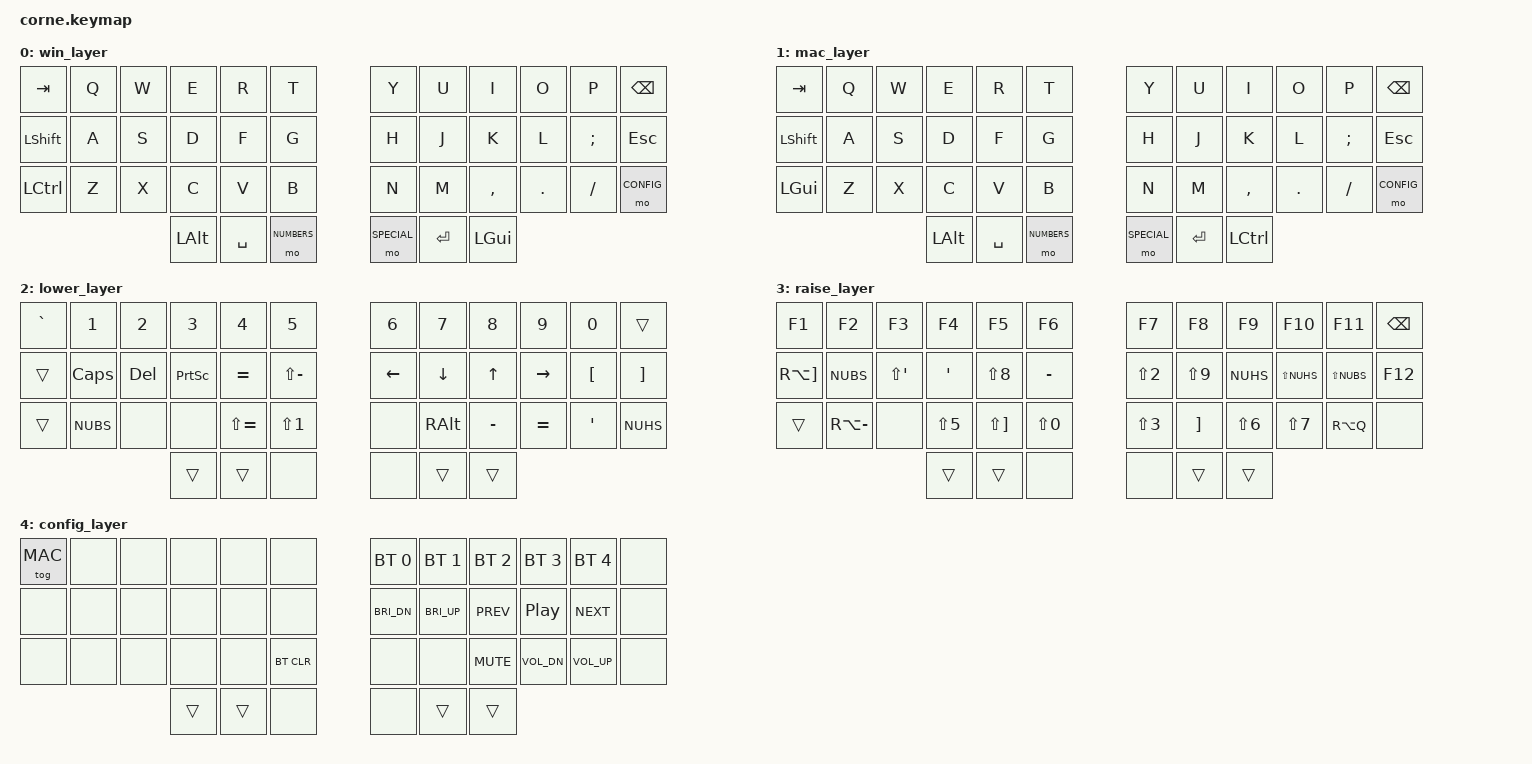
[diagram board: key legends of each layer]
/*
 * Copyright (c) 2020 The ZMK Contributors
 *
 * SPDX-License-Identifier: MIT
 */

#include <behaviors.dtsi>
#include <dt-bindings/zmk/keys.h>
#include <dt-bindings/zmk/bt.h>

#define WINDOWS 0
#define MAC 1
#define NUMBERS 2
#define SPECIAL 3
#define CONFIG 4

/ {
        keymap {
                compatible = "zmk,keymap";
                win_layer {
// -----------------------------------------------------------------------------------------
// |  TAB |  Q  |  W  |  E  |  R  |  T  |   |  Y  |  U   |  I  |  O  |  P  | BSPC |
// | SHFT |  A  |  S  |  D  |  F  |  G  |   |  H  |  J   |  K  |  L  |  Ñ  | ESC  |
// | CTRL |  Z  |  X  |  C  |  V  |  B  |   |  N  |  M   |  ,  |  .  |  -  | MO5  |
//                | ALT | SPC | NUMBERS |   | SPECIAL | ENT  | GUI |
                        bindings = <
   &kp TAB   &kp Q &kp W &kp E &kp R &kp T   &kp Y &kp U  &kp I     &kp O   &kp P     &kp BSPC
   &kp LSHFT &kp A &kp S &kp D &kp F &kp G   &kp H &kp J  &kp K     &kp L   &kp SEMI  &kp ESC
   &kp LCTRL &kp Z &kp X &kp C &kp V &kp B   &kp N &kp M  &kp COMMA &kp DOT &kp SLASH &mo CONFIG
            &kp LALT &kp SPACE &mo NUMBERS   &mo SPECIAL  &kp RET &kp LGUI
                        >;
                };

                mac_layer {
// -----------------------------------------------------------------------------------------
// |  TAB |  Q  |  W  |  E  |  R  |  T  |   |  Y  |  U   |  I  |  O  |  P  | BSPC |
// | SHFT |  A  |  S  |  D  |  F  |  G  |   |  H  |  J   |  K  |  L  |  Ñ  | ESC  |
// | GUI  |  Z  |  X  |  C  |  V  |  B  |   |  N  |  M   |  ,  |  .  |  -  | MO5  |
//                | ALT | SPC | NUMBERS |   | SPECIAL | ENT  | CTRL |
                        bindings = <
   &kp TAB   &kp Q &kp W &kp E &kp R &kp T   &kp Y &kp U  &kp I     &kp O   &kp P     &kp BSPC
   &kp LSHFT &kp A &kp S &kp D &kp F &kp G   &kp H &kp J  &kp K     &kp L   &kp SEMI  &kp ESC
   &kp LGUI  &kp Z &kp X &kp C &kp V &kp B   &kp N &kp M  &kp COMMA &kp DOT &kp SLASH  &mo CONFIG
           &kp LALT &kp SPACE &mo NUMBERS    &mo SPECIAL  &kp RET &kp LCTRL
                        >;
                };

                lower_layer {
// -----------------------------------------------------------------------------------------
// |  |   |  1 |  2   |  3  |  4  |  5  |   |  6  |  7   |  8  |  9  |  0  | BSPC |
// | SHFT | BM | SUPR | PS  |  ¿  |  ?  |   | LFT | DWN  |  UP | RGT |  ´  |   +  |
// | CTRL |  < |      |     |  ¡  |  !  |   |     | RALT |  ?  |  ¡  |  {  |   }  |
//                | ALT | SPC | NUMBERS |   | SPECIAL | ENT  | GUI |
                        bindings = <
   &kp GRAVE  &kp N1    &kp N2   &kp N3     &kp N4        &kp N5        &kp N6    &kp N7    &kp N8    &kp N9    &kp N0   &trans
   &trans     &kp CAPS  &kp DEL  &kp PSCRN  &kp EQUAL     &kp LS(MINUS) &kp LEFT  &kp DOWN  &kp UP    &kp RIGHT &kp LBKT &kp RBKT
   &trans     &kp NUBS  &none    &none      &kp LS(EQUAL) &kp LS(N1)    &none     &kp RALT  &kp MINUS &kp EQUAL &kp SQT  &kp NUHS
                        &trans    &trans     &none    &none   &trans   &trans
                        >;
                };

                raise_layer {
// -----------------------------------------------------------------------------------------
// | F1   |  F2  |  F3  |  F4  |  F5  |  F6  |  F7  |  F8  |  F9  |  F10  |  F11  | BSPC |
// |   ~  |   <  |  [   |   {  |  (   |   '  |   "  |   )  |   }  |   ]   |   >   | F12  |
// | CTRL |      |      |   %  |  *   |   =  |   #  |   +  |   &  |   /   |   @   |      |
//                    | ALT | SPC | MO1 |   | MO2 | ENT | GUI |
                        bindings = <
   &kp F1       &kp F2        &kp F3      &kp F4     &kp F5       &kp F6       &kp F7     &kp F8     &kp F9     &kp F10      &kp F11      &kp BSPC
   &kp RA(RBKT) &kp NUBS      &kp LS(SQT) &kp SQT    &kp LS(N8)   &kp MINUS    &kp LS(N2) &kp LS(N9) &kp NUHS   &kp LS(NUHS) &kp LS(NUBS) &kp F12
   &trans       &kp RA(MINUS) &none       &kp LS(N5) &kp LS(RBKT) &kp LS(N0)   &kp LS(N3) &kp RBKT   &kp LS(N6) &kp LS(N7)   &kp RA(Q)    &none
                                &trans  &trans  &none   &none   &trans    &trans
                        >;
                };

                config_layer {
// -----------------------------------------------------------------------------------------
// |  WIN  |    |    |    |    |         |   |  BT1  |  BT2  |  BT3  |  BT4  |  BT5  |    |
// |       |    |    |    |    |         |   |  BDW  |  BUP  |  PREV | PAUSE |  NEXT |    |
// |       |    |    |    |    |  BTCRL  |   |       |       |  MUTE | VOLDN | VOLUP |    |
//                    | ALT | SPC | MO1 |   | MO2 | ENT | GUI |
                        bindings = <
   &tog MAC &none  &none &none &none &none        &bt BT_SEL 0  &bt BT_SEL 1 &bt BT_SEL 2 &bt BT_SEL 3  &bt BT_SEL 4  &none
   &none    &none  &none &none &none &none        &kp C_BRI_DN  &kp C_BRI_UP &kp C_PREV   &kp C_PP      &kp C_NEXT    &none
   &none    &none  &none &none &none &bt BT_CLR   &none         &none        &kp C_MUTE   &kp C_VOL_DN  &kp C_VOL_UP  &none
                                &trans  &trans  &none   &none   &trans    &trans
                        >;
                };
        };
};
